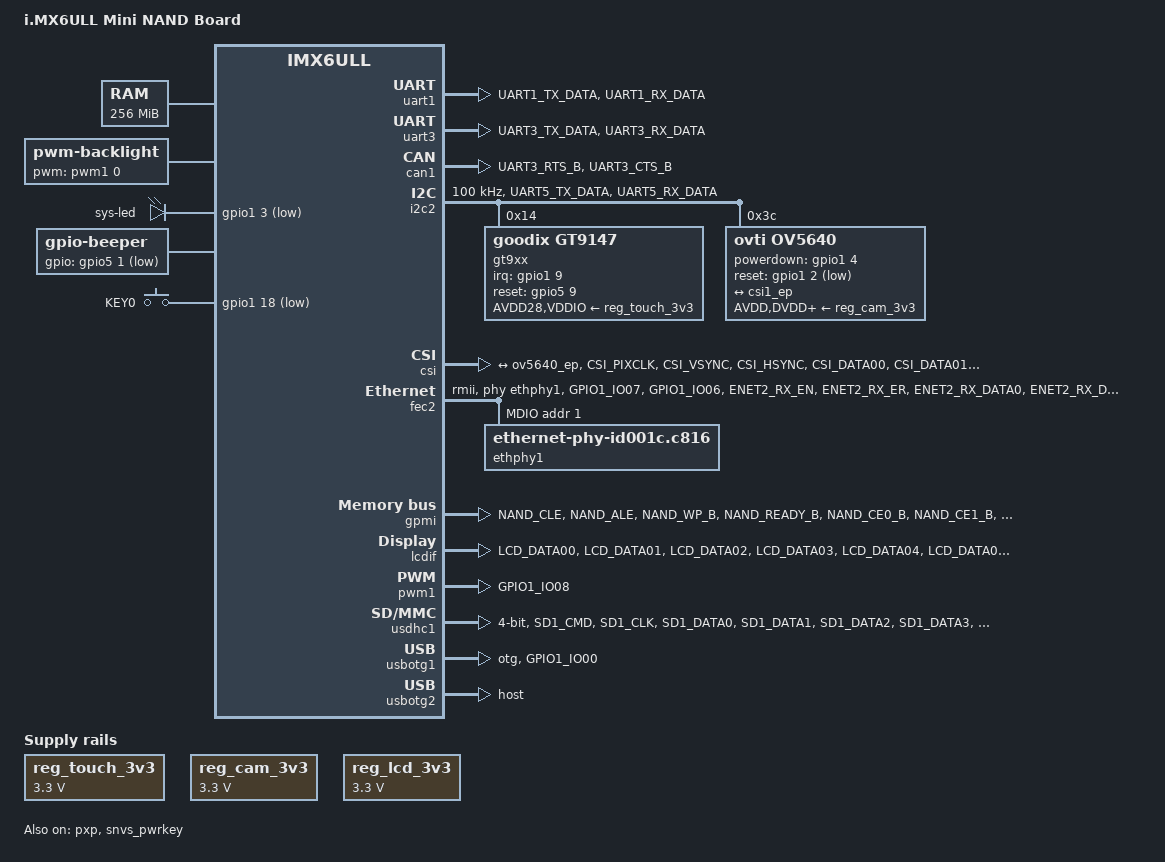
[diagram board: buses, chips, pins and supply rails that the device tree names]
// SPDX-License-Identifier: (GPL-2.0 OR MIT)
//
// i.MX6ULL Mini (NAND) 板级设备树
//
// 依据 IMX6ULL_MINI_V2.2(Mini底板原理图).pdf 核对（2026-11-10）。
// 不再继承 NXP EVK 的 imx6ul-14x14-evk.dtsi，只描述本板实际存在的硬件：
//
//   - DDR3L 256MiB（U-Boot 启动日志 DRAM: 256 MiB），起始 0x80000000
//   - 4.3 寸 RGB888 LCD，800x480@60Hz / 31MHz 像素时钟（ATK4384，屏 ID 0x04）
//       LCD 40pin 接口 J10：
//         pin40 RESET   整板复位网络（核心板 A40，与 MCU 共用复位按键）
//         pin39 CT_INT  触摸中断，10K 上拉 → GPIO1_IO09（核心板 B15）
//         pin38/36      I2C2_SCL / I2C2_SDA（核心板 B31/B32 = UART5_TXD/RXD）
//         pin35 CT_RST  触摸复位，10K 上拉 → SNVS_TAMPER9 = GPIO5_IO09（A48）
//         pin34 BLT_PWM 背光 → GPIO1_IO08（核心板 B16 / PWM1_OUT）
//         LCD 电源由底板 DCDC_3V3 直接提供（不可控，用 fixed regulator 描述）
//   - 电容触摸屏（GT9xx 系列，挂在 I2C2，与摄像头共用总线）
//   - 单网口 ENET2，RTL8201F PHY（MDIO 地址 1，SNVS_TAMPER8 / GPIO5_IO08 复位）
//   - GPMI NAND 512MiB，分区与 U-Boot 的 NAND_PARTITION_LAYOUT 一致
//   - TF 卡（USDHC1，CD = UART1_RTS_B / GPIO1_IO19）
//   - USB OTG（OTG1，Type-C，兼 USB 转串口 CH340）+ USB HOST（OTG2）
//   - CAN1（UART3_RTS_B/CTS_B 复用）、UART3（RS232/RS485/GPS 跳线选择）
//   - 红色状态 LED（GPIO1_IO03，低有效）、有源蜂鸣器（SNVS_TAMPER1 / GPIO5_IO01）、
//     KEY0（UART1_CTS_B / GPIO1_IO18，低有效）
//   - OV5640 摄像头（CSI 并行 DVP 8-bit，P1 18pin 接口，I2C2 地址 0x3C）
//   - PXP 硬件色彩转换/缩放
//   - ON_OFF 按键（核心板 B4，snvs_pwrkey，短按唤醒/长按下电）
//   - SNVS RTC + CR1220 后备电池（核心板 BAT54C 双电源切换，断电保时）
//   - CMA 16MiB（本文件 reserved-memory/linux,cma 声明，见下方注释）
//
// 明确不包含（本板没有或暂未启用）：
//   WM8960 音频（板载无 codec，音频走 USB 声卡，接 USB HOST 口）、
//   AP3216C/ICM20608、SDIO WiFi、QSPI、USDHC2、74HC595 GPIO 扩展、
//   电阻触摸屏（SP_TX 相关 R65/R66 为 DNP）、
//   I2C1/UART2（仅在排针引出，无板载器件，保持 disabled）、
//   snvs_poweroff（本板为分立 DCDC、无 PMIC，启用只会 halt 不会断电）。
//
// 生成的 dtb 名为 imx6ull-14x14-evk_nand.dtb，与 U-Boot 的
// dtb_file / tftp_update 下载文件名一致。

/dts-v1/;

#include <dt-bindings/input/linux-event-codes.h>
#include <dt-bindings/interrupt-controller/irq.h>
#include <dt-bindings/media/video-interfaces.h>
#include "imx6ull.dtsi"

#define NAND_ROOTFS_SIZE 0x1b800000	/* 440MiB = 512MiB - 72MiB 前置分区 */

/ {
	model = "i.MX6ULL Mini NAND Board";
	compatible = "fsl,imx6ull-14x14-evk", "fsl,imx6ull";

	aliases {
		ethernet0 = &fec2;
		mmc0 = &usdhc1;
	};

	chosen {
		stdout-path = &uart1;
	};

	memory@80000000 {
		device_type = "memory";
		reg = <0x80000000 0x10000000>;	/* 256MiB */
	};

	/*
	 * CMA（连续内存分配器）：摄像头 CSI / PXP / 显示用的 DMA 缓冲都从这里
	 * 分配，因为这几路外设没有 IOMMU，必须物理连续内存。
	 *
	 * 这里显式声明 16MiB，**CMA 大小以设备树为准**（DTS 有本节点时，
	 * 内核配置 CONFIG_CMA_SIZE_MBYTES 的值被忽略），因此 defconfig 里
	 * 不再显式写 CMA_SIZE_MBYTES，避免"两处配置、不知道谁生效"。
	 *
	 * 16MiB 实测够用：CmaFree 长期有 13MiB 以上剩余，够 640x480 UYVY
	 * （600KiB/帧）与 800x480 XR24（1.5MiB/帧）各自多缓冲；
	 * 也够后续 V4L2_MEMORY_DMABUF 零拷贝共享缓冲。
	 * 注意 256MiB 内存下 16MiB 占 6.25%，是合理比例。
	 *
	 * 实测 CMA **不是**帧率瓶颈（瓶颈是 CPU memcpy，见文档 7.8 节），
	 * 加大 CMA 不会提升帧率。
	 */
	reserved-memory {
		#address-cells = <1>;
		#size-cells = <1>;
		ranges;

		linux,cma {
			compatible = "shared-dma-pool";
			reusable;
			size = <0x1000000>;	/* 16MiB */
			linux,cma-default;
		};
	};

	/*
	 * 触摸/屏模组的 3.3V 供电：底板 DCDC_3V3 直连，没有可控 GPIO，
	 * 因此用 always-on fixed regulator 描述，供 goodix 的
	 * AVDD28 / VDDIO 引用（驱动对这两个 supply 是强依赖）。
	 */
	reg_touch_3v3: regulator-touch-3v3 {
		compatible = "regulator-fixed";
		regulator-name = "touch-3v3";
		regulator-min-microvolt = <3300000>;
		regulator-max-microvolt = <3300000>;
		regulator-always-on;
		regulator-boot-on;
	};

	/*
	 * 摄像头模块（P1）供电：底板 DCDC_3V3 直连，不可控。
	 * OV5640 模组内部自带 LDO，把 3.3V 转成 AVDD(2.8V)/DVDD(1.5V)/
	 * DOVDD(1.8V)，所以对外只有一个 3.3V 输入，三路 supply 指向同一个
	 * 电源域即可（mainline 的 stm32mp157c-ev1 也是三路同源）。
	 *
	 * ov5640.c 只用 regulator_bulk_enable/disable，不调用
	 * regulator_set_voltage，所以 regulator-fixed 足够。
	 * 不写这三路 supply 时驱动会拿到 dummy regulator 并打印
	 * "supply AVDD not found, using dummy regulator" 警告，功能不受影响，
	 * 但 AVDD/DVDD 在 binding 里是 required，按规范应显式提供。
	 */
	reg_cam_3v3: regulator-cam-3v3 {
		compatible = "regulator-fixed";
		regulator-name = "cam-3v3";
		regulator-min-microvolt = <3300000>;
		regulator-max-microvolt = <3300000>;
		regulator-always-on;
		regulator-boot-on;
	};

	/* LCD 模组供电：底板 DCDC_3V3 直连（40pin 接口 pin1/2），不可控 */
	reg_lcd_3v3: regulator-lcd-3v3 {
		compatible = "regulator-fixed";
		regulator-name = "lcd-3v3";
		regulator-min-microvolt = <3300000>;
		regulator-max-microvolt = <3300000>;
		regulator-always-on;
		regulator-boot-on;
	};

	/*
	 * 背光（PWM1，周期 5ms = 200Hz）。
	 *
	 * brightness-levels 的值本身就是占空比（scale = 最后一项 = 255），
	 * default-brightness-level 是数组下标。原来的
	 * <0 4 8 16 32 64 128 255> 只有 8 档，50% 之后直接跳到 100%，
	 * 中间没有可调空间。这里改为两点 + num-interpolated-steps 线性插值：
	 *   生成 (2-1)*255+1 = 256 档，max_brightness = 255
	 *   于是 brightness(0..255) 直接等于占空比百分比 * 2.55
	 * 默认 204 = 255*80% ≈ 80% 占空比，与 U-Boot 的 PWM 占空比保持一致。
	 */
	backlight: backlight {
		compatible = "pwm-backlight";
		pwms = <&pwm1 0 5000000 0>;
		brightness-levels = <0 255>;
		num-interpolated-steps = <255>;
		default-brightness-level = <204>;
		status = "okay";
	};

	leds {
		compatible = "gpio-leds";
		pinctrl-names = "default";
		pinctrl-0 = <&pinctrl_led>;

		led0 {
			label = "sys-led";
			gpios = <&gpio1 3 GPIO_ACTIVE_LOW>;
			linux,default-trigger = "heartbeat";
			default-state = "on";
		};
	};

	/* BEEP 低电平响、高电平停（PNP 8550 驱动） */
	beep {
		compatible = "gpio-beeper";
		pinctrl-names = "default";
		pinctrl-0 = <&pinctrl_beep>;
		gpios = <&gpio5 1 GPIO_ACTIVE_LOW>;
	};

	/* 底板功能按键 KEY0：UART1_CTS_B / GPIO1_IO18，低有效 */
	gpio-keys {
		compatible = "gpio-keys";
		pinctrl-names = "default";
		pinctrl-0 = <&pinctrl_key>;

		key0 {
			label = "KEY0";
			linux,code = <KEY_ENTER>;
			gpios = <&gpio1 18 GPIO_ACTIVE_LOW>;
		};
	};
};

/*
 * i.MX6ULL 的 OCOTP compatible 是 fsl,imx6ull-ocotp，而
 * mach-imx6ul.c 的 MAC 初始化按 fsl,imx6ul-ocotp 查找，补一个兼容项，
 * 避免 "failed to find ocotp node" 并使用 OCOTP 中的 MAC 地址。
 */
&ocotp {
	compatible = "fsl,imx6ull-ocotp", "fsl,imx6ul-ocotp", "syscon";

	/*
	 * imx6ul.dtsi 里 MAC cell 定义成 6 字节（reg = <0x8e 6>），不按
	 * OCOTP 的 4 字节 word 对齐，nvmem 层在 cell 创建时会打
	 * "cell mac-addr raw len 6 unaligned to nvmem word size 4"。
	 * 这里覆盖为 8 字节（读满两个 word），fec 驱动用
	 * of_get_mac_address() 只取前 6 字节（ETH_ALEN），语义不变。
	 *
	 * 注意：本板 OCOTP 的 MAC 区域（0x88/0x8e）实测全 0（出厂未烧录
	 * MAC），因此对齐后 fec 读到的仍是全 0，is_valid_ether_addr() 判
	 * 无效仍会回退到随机 MAC。若要稳定 MAC，另在 &fec2 加
	 * local-mac-address = [xx xx xx xx xx xx];（见下文注释）。
	 */
	fec2_mac_addr: mac-addr@8e {
		reg = <0x8e 8>;
	};
};

/*
 * busfreq 空闲会把 DDR 降到 24MHz，实测会让 LCDIF 读 framebuffer 出错，
 * 表现为启动一段时间后屏幕出现横线、画面拉伸；禁用，固定跑 400MHz。
 */
&soc {
	busfreq {
		status = "disabled";
	};
};

/* 调试串口 UART1 */
&uart1 {
	pinctrl-names = "default";
	pinctrl-0 = <&pinctrl_uart1>;
	status = "okay";
};

/*
 * RS232 / RS485 / GPS：底板用跳线选择，三者都接 UART3。
 * RS485 的 DE/RE 由 RS485_RX 硬件自动控制，无需方向 GPIO。
 */
&uart3 {
	pinctrl-names = "default";
	pinctrl-0 = <&pinctrl_uart3>;
	status = "okay";
};

/* CAN1：TJA1050，FLEXCAN1（UART3_RTS_B/CTS_B 引脚） */
&can1 {
	pinctrl-names = "default";
	pinctrl-0 = <&pinctrl_flexcan1>;
	status = "okay";
};

/*
 * I2C2（核心板 B31/B32 = UART5_TXD/RXD，底板 R40/R41 4.7K 上拉）。
 * 总线上挂两个设备：4.3 寸 LCD 的电容触摸 IC、P1 摄像头接口的 OV5640。
 * 两者地址不冲突（触摸 0x14/0x5D，摄像头 0x3C）。
 */
&i2c2 {
	clock-frequency = <100000>;
	pinctrl-names = "default";
	pinctrl-0 = <&pinctrl_i2c2>;
	status = "okay";

	/*
	 * 4.3 寸 800x480 电容触摸屏（正点原子屏 ID 0x04，GT9xx 系列）：
	 *   LCD 接口 pin39 CT_INT → GPIO1_IO09，10K 上拉，低有效
	 *   LCD 接口 pin35 CT_RST → SNVS_TAMPER9 / GPIO5_IO09，10K 上拉
	 *   LCD 接口 pin38/36    → I2C2_SCL / I2C2_SDA
	 *   电源                 → 底板 DCDC_3V3（always-on）
	 *
	 * 实机 probe 日志：Goodix-TS 1-0014: ID 9147, version: 1040
	 *   → 触控 IC 确认为 GT9147，I2C 地址 0x14，与下面声明一致。
	 *
	 * mainline goodix 驱动在 probe 时会按本节点的 reg 主动把芯片
	 * 配置成该地址（复位时序中拉高/拉低 INT 选择 0x14 或 0x5D），
	 * 因此这里写 0x14 即可；若 probe 报 ENXIO 再改 <0x5d>。
	 *
	 * 注意：早期把 irq-gpios/reset-gpios 写成 ACTIVE_LOW 时，复位序列
	 * 物理电平整体反相，芯片没被正确初始化，config 区读回全 0，
	 * 驱动打印 "Invalid config (799, 479, 0), using defaults" 并把
	 * 下面的 800x480 覆盖成 4096x4096。改成 ACTIVE_HIGH 后 config
	 * 读取正常、告警消失，实测 ABS X/Y = 799/479。驱动未做任何修改。
	 */
	gt9xx: touchscreen@14 {
		compatible = "goodix,gt9147";
		reg = <0x14>;
		pinctrl-names = "default";
		pinctrl-0 = <&pinctrl_tsc_int &pinctrl_tsc_reset>;
		interrupt-parent = <&gpio1>;
		interrupts = <9 IRQ_TYPE_EDGE_FALLING>;
		/*
		 * 极性必须 ACTIVE_HIGH：goodix.c 用的是 gpiod_direction_output()
		 * 的逻辑值，复位序列为 output(rst,0) → 20ms → 选地址 →
		 * output(rst,1)。ACTIVE_HIGH 时逻辑 0 = 物理低（复位）、逻辑 1
		 * = 物理高（释放），与 CT_RST 低有效一致；写成 ACTIVE_LOW 会
		 * 整体反相（先高后低），芯片可能停在复位态或地址选择错误。
		 * 同理地址选择 output(int, addr==0x14) 传逻辑 1，需为物理高，
		 * 即"复位释放后 5ms 内 INT 高 → I2C 地址 0x14"。
		 * 树内 imx6q-kp / imx6ul-kontron-bl-43 / sun7i-a20-wexler 等
		 * mainline 板子也都是 GPIO_ACTIVE_HIGH。
		 */
		irq-gpios = <&gpio1 9 GPIO_ACTIVE_HIGH>;
		reset-gpios = <&gpio5 9 GPIO_ACTIVE_HIGH>;
		AVDD28-supply = <&reg_touch_3v3>;
		VDDIO-supply = <&reg_touch_3v3>;
		touchscreen-size-x = <800>;
		touchscreen-size-y = <480>;
		status = "okay";
	};

	/*
	 * 摄像头模块接口（OV5640，并行 DVP 8-bit，P1 = Header 9X2）：
	 *   - I2C 控制：I2C2，地址 0x3C
	 *   - 数据：CSI 并行总线，PIXCLK/HSYNC/VSYNC + D0..D7
	 *   - 主时钟：CSI_MCLK（经 R32 22R 串阻，由 CSI 时钟树提供）
	 *   - PWDN = GPIO1_IO04（核心板 B14 / GPIO_4），高有效
	 *   - RESET = GPIO1_IO02（核心板 B13 / GPIO_2），低有效
	 * 注意：clock-lanes / data-lanes 是 MIPI CSI-2 属性，并行 DVP
	 * 只需要 bus-width + data-shift（D0..D7 接 CSI_DATA02..09）。
	 */
	ov5640: camera@3c {
		compatible = "ovti,ov5640";
		reg = <0x3c>;
		pinctrl-names = "default";
		pinctrl-0 = <&pinctrl_csi_pwr>;
		clocks = <&clks IMX6UL_CLK_CSI>;
		clock-names = "xclk";
		powerdown-gpios = <&gpio1 4 GPIO_ACTIVE_HIGH>;
		reset-gpios = <&gpio1 2 GPIO_ACTIVE_LOW>;
		/* 模组由底板 DCDC_3V3 供电，内部 LDO 再产生 2.8V/1.5V/1.8V，
		 * 三路 supply 同源（不写会拿到 dummy regulator 并打印警告） */
		AVDD-supply = <&reg_cam_3v3>;
		DVDD-supply = <&reg_cam_3v3>;
		DOVDD-supply = <&reg_cam_3v3>;
		status = "okay";

		port {
			ov5640_ep: endpoint {
				remote-endpoint = <&csi1_ep>;
				bus-type = <MEDIA_BUS_TYPE_PARALLEL>;
				bus-width = <8>;
				data-shift = <2>;
				pclk-sample = <1>;
				hsync-active = <0>;
				vsync-active = <0>;
			};
		};
	};
};

/* CSI 桥；clock-names 必须与 imx7-media-csi 驱动一致（只认 "mclk"） */
&csi {
	clocks = <&clks IMX6UL_CLK_CSI>;
	clock-names = "mclk";
	pinctrl-names = "default";
	pinctrl-0 = <&pinctrl_csi1>;
	status = "okay";

	port {
		csi1_ep: endpoint {
			remote-endpoint = <&ov5640_ep>;
		};
	};
};

/*
 * PXP 硬件加速（色彩空间转换 + 缩放 + 旋转），用于摄像头 YUV->RGB 与缩放。
 * 必须覆盖 compatible：SoC dtsi 里是 NXP BSP 风格的 "fsl,imx6ull-pxp-dma"，
 * 而 mainline imx-pxp 驱动只匹配 "fsl,imx6ull-pxp"。
 * clock-names 同理：驱动只取 "axi"。
 */
&pxp {
	compatible = "fsl,imx6ull-pxp";
	clocks = <&clks IMX6UL_CLK_PXP>;
	clock-names = "axi";
	status = "okay";
};

/*
 * 单网口 ENET2：RTL8201F（PHY ID 0x001cc816，MDIO 地址 1）。
 * ENET2_RST = SNVS_TAMPER8 / GPIO5_IO08，低有效，复位 200ms。
 * 注意：复位脚必须放在 iomuxc_snvs 下，不能混在 iomuxc 的 RMII 组里。
 */
&fec2 {
	pinctrl-names = "default";
	pinctrl-0 = <&pinctrl_enet2 &pinctrl_enet2_reset>;
	phy-mode = "rmii";
	phy-handle = <&ethphy1>;
	phy-reset-gpios = <&gpio5 8 GPIO_ACTIVE_LOW>;
	phy-reset-duration = <200>;
	status = "okay";

	mdio {
		#address-cells = <1>;
		#size-cells = <0>;

		ethphy1: ethernet-phy@1 {
			compatible = "ethernet-phy-id001c.c816";
			reg = <1>;
			clocks = <&clks IMX6UL_CLK_ENET2_REF>;
			clock-names = "rmii-ref";
		};
	};
};

/* GPMI NAND：分区与 U-Boot 的 NAND_PARTITION_LAYOUT 保持一致 */
&gpmi {
	pinctrl-names = "default";
	pinctrl-0 = <&pinctrl_gpmi_nand_1>;
	status = "okay";
	nand-on-flash-bbt;
	fsl,use-minimum-ecc;

	partitions {
		compatible = "fixed-partitions";
		#address-cells = <1>;
		#size-cells = <1>;

		partition@0 {
			label = "boot";
			reg = <0x00000000 0x00800000>;	/* 8MiB */
			read-only;
		};

		partition@800000 {
			label = "env";
			reg = <0x00800000 0x00400000>;	/* 4MiB */
			read-only;	/* 仅由 U-Boot saveenv 写入 */
		};

		partition@c00000 {
			label = "logo";
			reg = <0x00c00000 0x00800000>;	/* 8MiB */
		};

		partition@1400000 {
			label = "kernel";
			reg = <0x01400000 0x02000000>;	/* 32MiB */
		};

		partition@3400000 {
			label = "dtb";
			reg = <0x03400000 0x01000000>;	/* 16MiB */
		};

		partition@4400000 {
			label = "tee";
			reg = <0x04400000 0x00400000>;	/* 4MiB */
		};

		partition@4800000 {
			label = "rootfs";
			reg = <0x04800000 NAND_ROOTFS_SIZE>;	/* 440MiB */
		};
	};
};

/*
 * 4.3 寸 RGB LCD（800x480@60Hz，31MHz），时序与 U-Boot 一致。
 * LCD 的 RESET 是 LCD 接口 pin40 的 RESET 网络（核心板 A40，与整板复位
 * 按键/MCU 共用），不由任何 GPIO 控制，因此这里没有 enable-gpio。
 * LCD 接口 pin35/pin39 的 CT_RST / CT_INT 属于电容触摸屏，
 * 已在 &i2c2 的 gt9xx 节点与 pinctrl_tsc_* 中配置。
 */
&lcdif {
	assigned-clocks = <&clks IMX6UL_CLK_LCDIF_PRE_SEL>;
	assigned-clock-parents = <&clks IMX6UL_CLK_PLL5_VIDEO_DIV>;
	pinctrl-names = "default";
	pinctrl-0 = <&pinctrl_lcdif_dat &pinctrl_lcdif_ctrl>;
	display = <&display0>;
	/*
	 * LCD 模组由底板 DCDC_3V3 直连（40pin 接口 pin1/2），不可控。
	 * mxsfb 用 devm_regulator_get(dev, "lcd") 取该 supply，缺失时
	 * regulator core 会打印 "supply lcd not found, using dummy
	 * regulator"；显式给出可消除警告，语义也更准确。
	 */
	lcd-supply = <&reg_lcd_3v3>;
	status = "okay";

	display0: display@0 {
		/*
		 * 本板 4.3 寸 RGB888 屏（800x480@60Hz），屏幕手册给出的时序：
		 *   显示区 800 tCLK / 480 th，像素时钟 31MHz
		 *   HSPW 48、HBP 88、HFP 40 → H_total = 976 tCLK
		 *   VSPW  3、VBP 32、VFP 13 → V_total = 528 th
		 *   31MHz / (976 * 528) ≈ 60.1Hz
		 * 注意：hactive 必须与屏幕有效像素一致（800）。写成 840 会与
		 * U-Boot 及 logo 数据宽度不匹配（居中算出负偏移→花屏）。
		 * 32bpp RGB888 经 24bit 总线输出。
		 */
		bits-per-pixel = <32>;
		bus-width = <24>;

		display-timings {
			native-mode = <&timing0>;

			timing0: timing0 {
				clock-frequency = <31000000>;
				hactive = <800>;
				vactive = <480>;
				hfront-porch = <40>;
				hback-porch = <88>;
				hsync-len = <48>;
				vback-porch = <32>;
				vfront-porch = <13>;
				vsync-len = <3>;
				hsync-active = <0>;
				vsync-active = <0>;
				de-active = <1>;
				pixelclk-active = <0>;
			};
		};
	};
};

/* PWM1 背光（GPIO1_IO08 / PWM1_OUT） */
&pwm1 {
	pinctrl-names = "default";
	pinctrl-0 = <&pinctrl_pwm1>;
	status = "okay";
};

/* TF 卡：USDHC1，4 位，CD = GPIO1_IO19 */
&usdhc1 {
	pinctrl-names = "default";
	pinctrl-0 = <&pinctrl_usdhc1>;
	bus-width = <4>;
	cd-gpios = <&gpio1 19 GPIO_ACTIVE_LOW>;
	no-1-8-v;
	status = "okay";
};

/* USB：OTG1 为 MiniUSB OTG 口，OTG2 为 USB HOST 口 */
&usbotg1 {
	dr_mode = "otg";
	disable-over-current;
	pinctrl-names = "default";
	pinctrl-0 = <&pinctrl_usb_otg1>;
	status = "okay";
};

&usbotg2 {
	dr_mode = "host";
	disable-over-current;
	status = "okay";
};

&usbphy1 {
	fsl,tx-d-cal = <106>;
};

/* USB HOST 口走 OTG2，对应 usbphy2，阻抗校准与 usbphy1 保持一致 */
&usbphy2 {
	fsl,tx-d-cal = <106>;
};

/*
 * ON_OFF 按键（底板原理图核心板连接器 B4 = ON_OFF）。
 * i.MX6ULL 的 SNVS 域 PWRON 引脚，接在底板 K1 按键上：
 *   短按 → 唤醒/开机；长按 → 触发 SNVS power down。
 * 该功能由 snvs_pwrkey 驱动提供，dtsi 里默认 disabled，这里按原理图启用。
 * ON_OFF 是 SoC 专用引脚，不需要 pinctrl。
 */
&snvs_pwrkey {
	status = "okay";
};

&wdog1 {
	pinctrl-names = "default";
	pinctrl-0 = <&pinctrl_wdog>;
	fsl,ext-reset-output;
};

&iomuxc {
	pinctrl_uart1: uart1grp {
		fsl,pins = <
			MX6UL_PAD_UART1_TX_DATA__UART1_DCE_TX	0x1b0b1
			MX6UL_PAD_UART1_RX_DATA__UART1_DCE_RX	0x1b0b1
		>;
	};

	pinctrl_uart3: uart3grp {
		fsl,pins = <
			MX6UL_PAD_UART3_TX_DATA__UART3_DCE_TX	0x1b0b1
			MX6UL_PAD_UART3_RX_DATA__UART3_DCE_RX	0x1b0b1
		>;
	};

	pinctrl_flexcan1: flexcan1grp {
		fsl,pins = <
			MX6UL_PAD_UART3_RTS_B__FLEXCAN1_RX	0x1b020
			MX6UL_PAD_UART3_CTS_B__FLEXCAN1_TX	0x1b020
		>;
	};

	pinctrl_i2c2: i2c2grp {
		fsl,pins = <
			MX6UL_PAD_UART5_TX_DATA__I2C2_SCL	0x4001b8b0
			MX6UL_PAD_UART5_RX_DATA__I2C2_SDA	0x4001b8b0
		>;
	};

	/* 触摸中断 CT_INT：LCD 接口 pin39 → GPIO1_IO09（底板 R18 10K 上拉） */
	pinctrl_tsc_int: tscintgrp {
		fsl,pins = <
			MX6UL_PAD_GPIO1_IO09__GPIO1_IO09	0x10b0
		>;
	};

	pinctrl_key: keygrp {
		fsl,pins = <
			MX6UL_PAD_UART1_CTS_B__GPIO1_IO18	0xf080
		>;
	};

	pinctrl_enet2: enet2grp {
		fsl,pins = <
			MX6UL_PAD_GPIO1_IO07__ENET2_MDC		0x1b0b0
			MX6UL_PAD_GPIO1_IO06__ENET2_MDIO	0x1b0b0
			MX6UL_PAD_ENET2_RX_EN__ENET2_RX_EN	0x1b0b0
			MX6UL_PAD_ENET2_RX_ER__ENET2_RX_ER	0x1b0b0
			MX6UL_PAD_ENET2_RX_DATA0__ENET2_RDATA00	0x1b0b0
			MX6UL_PAD_ENET2_RX_DATA1__ENET2_RDATA01	0x1b0b0
			MX6UL_PAD_ENET2_TX_EN__ENET2_TX_EN	0x1b0b0
			MX6UL_PAD_ENET2_TX_DATA0__ENET2_TDATA00	0x1b0b0
			MX6UL_PAD_ENET2_TX_DATA1__ENET2_TDATA01	0x1b0b0
			MX6UL_PAD_ENET2_TX_CLK__ENET2_REF_CLK2	0x4001b031
		>;
	};

	pinctrl_lcdif_dat: lcdifdatgrp {
		fsl,pins = <
			MX6UL_PAD_LCD_DATA00__LCDIF_DATA00	0x79
			MX6UL_PAD_LCD_DATA01__LCDIF_DATA01	0x79
			MX6UL_PAD_LCD_DATA02__LCDIF_DATA02	0x79
			MX6UL_PAD_LCD_DATA03__LCDIF_DATA03	0x79
			MX6UL_PAD_LCD_DATA04__LCDIF_DATA04	0x79
			MX6UL_PAD_LCD_DATA05__LCDIF_DATA05	0x79
			MX6UL_PAD_LCD_DATA06__LCDIF_DATA06	0x79
			MX6UL_PAD_LCD_DATA07__LCDIF_DATA07	0x79
			MX6UL_PAD_LCD_DATA08__LCDIF_DATA08	0x79
			MX6UL_PAD_LCD_DATA09__LCDIF_DATA09	0x79
			MX6UL_PAD_LCD_DATA10__LCDIF_DATA10	0x79
			MX6UL_PAD_LCD_DATA11__LCDIF_DATA11	0x79
			MX6UL_PAD_LCD_DATA12__LCDIF_DATA12	0x79
			MX6UL_PAD_LCD_DATA13__LCDIF_DATA13	0x79
			MX6UL_PAD_LCD_DATA14__LCDIF_DATA14	0x79
			MX6UL_PAD_LCD_DATA15__LCDIF_DATA15	0x79
			MX6UL_PAD_LCD_DATA16__LCDIF_DATA16	0x79
			MX6UL_PAD_LCD_DATA17__LCDIF_DATA17	0x79
			MX6UL_PAD_LCD_DATA18__LCDIF_DATA18	0x79
			MX6UL_PAD_LCD_DATA19__LCDIF_DATA19	0x79
			MX6UL_PAD_LCD_DATA20__LCDIF_DATA20	0x79
			MX6UL_PAD_LCD_DATA21__LCDIF_DATA21	0x79
			MX6UL_PAD_LCD_DATA22__LCDIF_DATA22	0x79
			MX6UL_PAD_LCD_DATA23__LCDIF_DATA23	0x79
		>;
	};

	pinctrl_lcdif_ctrl: lcdifctrlgrp {
		fsl,pins = <
			MX6UL_PAD_LCD_CLK__LCDIF_CLK		0x79
			MX6UL_PAD_LCD_ENABLE__LCDIF_ENABLE	0x79
			MX6UL_PAD_LCD_HSYNC__LCDIF_HSYNC	0x79
			MX6UL_PAD_LCD_VSYNC__LCDIF_VSYNC	0x79
		>;
	};

	pinctrl_pwm1: pwm1grp {
		fsl,pins = <
			MX6UL_PAD_GPIO1_IO08__PWM1_OUT	0x110b0
		>;
	};

	/* CSI 并行总线：PIXCLK/HSYNC/VSYNC + 8-bit 数据（D2..D9 对齐） */
	pinctrl_csi1: csi1grp {
		fsl,pins = <
			MX6UL_PAD_CSI_PIXCLK__CSI_PIXCLK	0x1b088
			MX6UL_PAD_CSI_VSYNC__CSI_VSYNC		0x1b088
			MX6UL_PAD_CSI_HSYNC__CSI_HSYNC		0x1b088
			MX6UL_PAD_CSI_DATA00__CSI_DATA02	0x1b088
			MX6UL_PAD_CSI_DATA01__CSI_DATA03	0x1b088
			MX6UL_PAD_CSI_DATA02__CSI_DATA04	0x1b088
			MX6UL_PAD_CSI_DATA03__CSI_DATA05	0x1b088
			MX6UL_PAD_CSI_DATA04__CSI_DATA06	0x1b088
			MX6UL_PAD_CSI_DATA05__CSI_DATA07	0x1b088
			MX6UL_PAD_CSI_DATA06__CSI_DATA08	0x1b088
			MX6UL_PAD_CSI_DATA07__CSI_DATA09	0x1b088
		>;
	};

	/* OV5640 的 PWDN(高有效) / RESET(低有效) 控制脚 */
	pinctrl_csi_pwr: csipwrgrp {
		fsl,pins = <
			MX6UL_PAD_GPIO1_IO04__GPIO1_IO04	0x10b0
			MX6UL_PAD_GPIO1_IO02__GPIO1_IO02	0x10b0
		>;
	};

	pinctrl_usdhc1: usdhc1grp {
		fsl,pins = <
			MX6UL_PAD_SD1_CMD__USDHC1_CMD		0x17059
			MX6UL_PAD_SD1_CLK__USDHC1_CLK		0x10071
			MX6UL_PAD_SD1_DATA0__USDHC1_DATA0	0x17059
			MX6UL_PAD_SD1_DATA1__USDHC1_DATA1	0x17059
			MX6UL_PAD_SD1_DATA2__USDHC1_DATA2	0x17059
			MX6UL_PAD_SD1_DATA3__USDHC1_DATA3	0x17059
			MX6UL_PAD_UART1_RTS_B__GPIO1_IO19	0x17059
		>;
	};

	pinctrl_usb_otg1: usbotg1grp {
		fsl,pins = <
			MX6UL_PAD_GPIO1_IO00__ANATOP_OTG1_ID	0x17059
		>;
	};

	pinctrl_wdog: wdoggrp {
		fsl,pins = <
			MX6UL_PAD_LCD_RESET__WDOG1_WDOG_ANY	0x30b0
		>;
	};

	pinctrl_led: ledgrp {
		fsl,pins = <
			MX6UL_PAD_GPIO1_IO03__GPIO1_IO03	0x10b0
		>;
	};

	pinctrl_gpmi_nand_1: gpmi-nand-1 {
		fsl,pins = <
			MX6UL_PAD_NAND_CLE__RAWNAND_CLE		0xb0b1
			MX6UL_PAD_NAND_ALE__RAWNAND_ALE		0xb0b1
			MX6UL_PAD_NAND_WP_B__RAWNAND_WP_B	0xb0b1
			MX6UL_PAD_NAND_READY_B__RAWNAND_READY_B	0xb000
			MX6UL_PAD_NAND_CE0_B__RAWNAND_CE0_B	0xb0b1
			MX6UL_PAD_NAND_CE1_B__RAWNAND_CE1_B	0xb0b1
			MX6UL_PAD_NAND_RE_B__RAWNAND_RE_B	0xb0b1
			MX6UL_PAD_NAND_WE_B__RAWNAND_WE_B	0xb0b1
			MX6UL_PAD_NAND_DATA00__RAWNAND_DATA00	0xb0b1
			MX6UL_PAD_NAND_DATA01__RAWNAND_DATA01	0xb0b1
			MX6UL_PAD_NAND_DATA02__RAWNAND_DATA02	0xb0b1
			MX6UL_PAD_NAND_DATA03__RAWNAND_DATA03	0xb0b1
			MX6UL_PAD_NAND_DATA04__RAWNAND_DATA04	0xb0b1
			MX6UL_PAD_NAND_DATA05__RAWNAND_DATA05	0xb0b1
			MX6UL_PAD_NAND_DATA06__RAWNAND_DATA06	0xb0b1
			MX6UL_PAD_NAND_DATA07__RAWNAND_DATA07	0xb0b1
		>;
	};
};

&iomuxc_snvs {
	/*
	 * 触摸复位 CT_RST：LCD 接口 pin35 → SNVS_TAMPER9 / GPIO5_IO09
	 * （底板 R19 10K 上拉）。注意该 pad 属于 iomuxc_snvs 域，
	 * 不能和 GPIO1_IO09 放在同一个 iomuxc 组里。
	 */
	pinctrl_tsc_reset: tscresetgrp {
		fsl,pins = <
			MX6ULL_PAD_SNVS_TAMPER9__GPIO5_IO09	0x10b0
		>;
	};

	/* ENET2 PHY 复位：SNVS_TAMPER8 / GPIO5_IO08，低有效 */
	pinctrl_enet2_reset: enet2resetgrp {
		fsl,pins = <
			MX6ULL_PAD_SNVS_TAMPER8__GPIO5_IO08	0x10b0
		>;
	};

	pinctrl_beep: beepgrp {
		fsl,pins = <
			MX6ULL_PAD_SNVS_TAMPER1__GPIO5_IO01	0x10b0
		>;
	};
};
